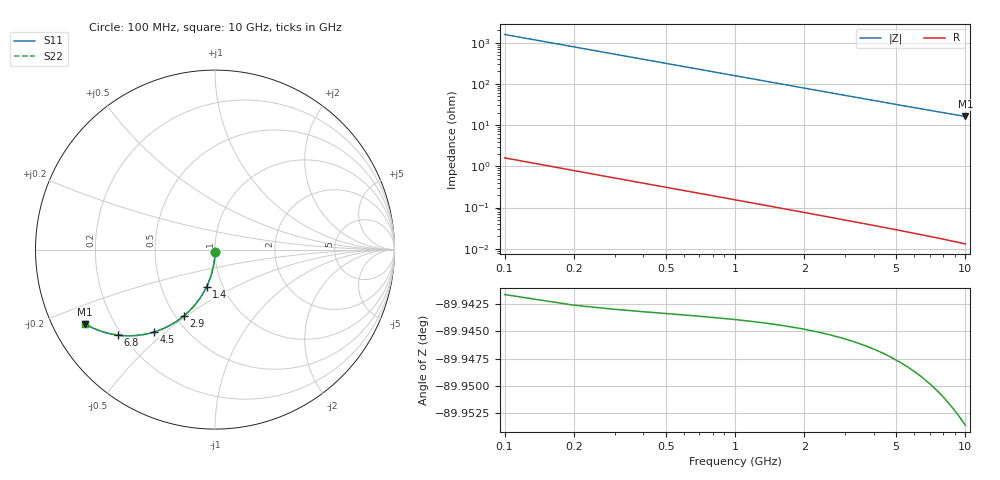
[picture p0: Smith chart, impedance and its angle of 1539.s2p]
# Hz S RI R 50.00
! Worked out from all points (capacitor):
!   100 points, 100 MHz to 10 GHz, reference 50 ohm
!   read as one part in shunt: C = 1.01 pF near 100 MHz
!   lowest |Z| = 16.2 ohm at 10 GHz (marker M1)
!   S11 on the Smith chart (normalised r, x): 100 MHz: 1.00, -0.03; 1.4 GHz: 0.84, -0.36; 2.9 GHz: 0.55, -0.49; 4.5 GHz: 0.34, -0.46; 6.8 GHz: 0.18, -0.37; 10 GHz: 0.10, -0.26
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1e8  -0.000153 -0.0155  0.9996 -0.0162  0.9996 -0.0162  -0.000153 -0.0155
2e8  -0.000921 -0.0311  0.9988 -0.0323  0.9988 -0.0323  -0.000921 -0.0311
3e8  -0.00219 -0.0465  0.9976 -0.0484  0.9976 -0.0484  -0.00219 -0.0465
4e8  -0.00395 -0.0619  0.9958 -0.0644  0.9958 -0.0644  -0.00395 -0.0619
5e8  -0.0062 -0.0772  0.9936 -0.0803  0.9936 -0.0803  -0.0062 -0.0772
6e8  -0.00894 -0.0924  0.9908 -0.0961  0.9908 -0.0961  -0.00894 -0.0924
7e8  -0.0122 -0.1075  0.9876 -0.1118  0.9876 -0.1118  -0.0122 -0.1075
9e8  -0.02 -0.1371  0.9798 -0.1426  0.9798 -0.1426  -0.02 -0.1371
1.1e9  -0.0296 -0.1658  0.9702 -0.1727  0.9702 -0.1727  -0.0296 -0.1658
1.4e9  -0.0471 -0.2072  0.9527 -0.2159  0.9527 -0.2159  -0.0471 -0.2072
1.8e9  -0.0755 -0.2584  0.9242 -0.2696  0.9242 -0.2696  -0.0755 -0.2584
2.3e9  -0.1178 -0.3149  0.8819 -0.3292  0.8819 -0.3292  -0.1178 -0.3149
2.9e9  -0.1753 -0.3708  0.8243 -0.3889  0.8243 -0.3889  -0.1753 -0.3708
3.4e9  -0.2263 -0.4075  0.7732 -0.4287  0.7732 -0.4287  -0.2263 -0.4075
3.9e9  -0.2782 -0.4356  0.7213 -0.4599  0.7213 -0.4599  -0.2782 -0.4356
4.5e9  -0.3395 -0.4591  0.6598 -0.4872  0.6598 -0.4872  -0.3395 -0.4591
5.1e9  -0.3982 -0.4731  0.601 -0.5051  0.601 -0.5051  -0.3982 -0.4731
5.9e9  -0.4705 -0.4801  0.5285 -0.5172  0.5285 -0.5172  -0.4705 -0.4801
6.7e9  -0.5349 -0.4771  0.4639 -0.5193  0.4639 -0.5193  -0.5349 -0.4771
6.8e9  -0.5424 -0.4762  0.4564 -0.5191  0.4564 -0.5191  -0.5424 -0.4762
8.4e9  -0.6459 -0.4508  0.3524 -0.5041  0.3524 -0.5041  -0.6459 -0.4508
1e10  -0.7229 -0.4144  0.2748 -0.4785  0.2748 -0.4785  -0.7229 -0.4144
